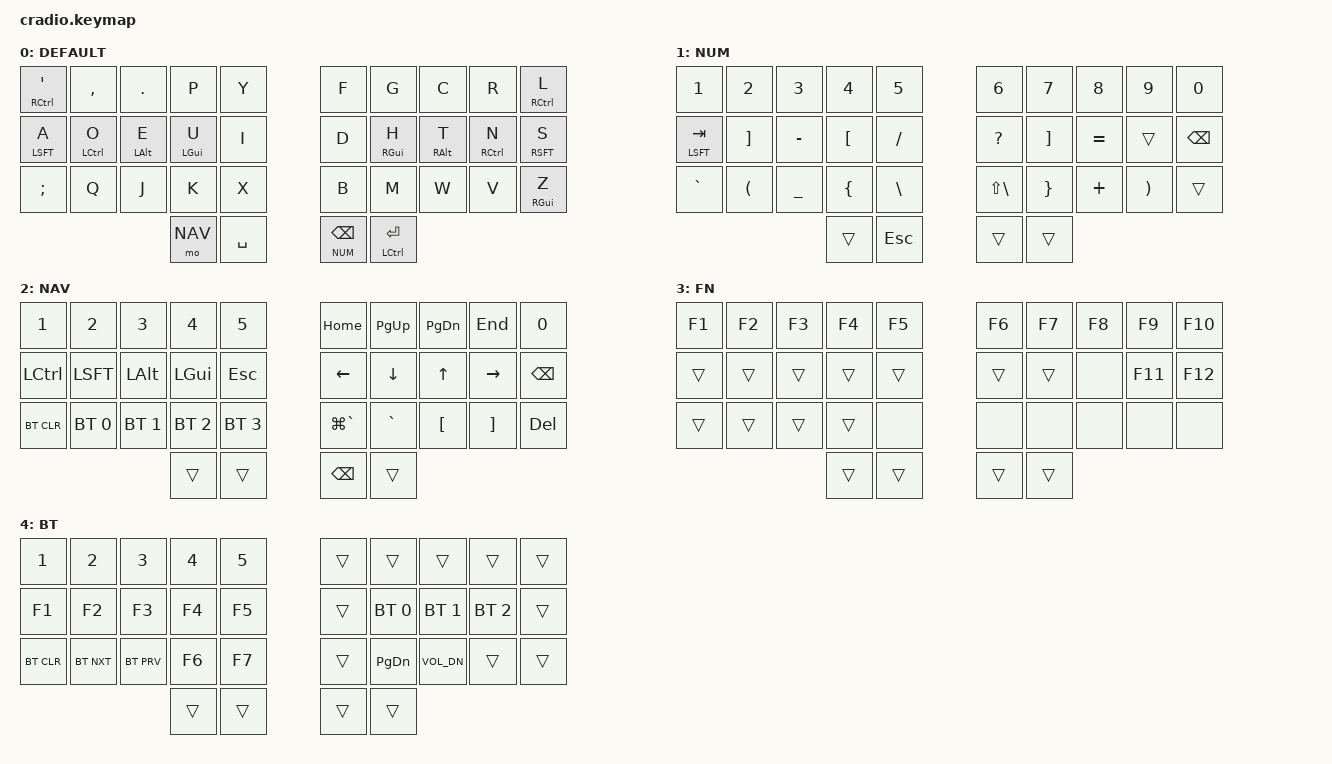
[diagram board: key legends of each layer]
/*
 * Copyright (c) 2020 The ZMK Contributors
 *
 * SPDX-License-Identifier: MIT
 */

#include <behaviors.dtsi>
#include <dt-bindings/zmk/keys.h>
#include <dt-bindings/zmk/bt.h>
//#include <dt-bindings/zmk/mouse.h>

#define DEFAULT 0
#define NUM 1
#define NAV 2
#define FN 3
#define BT 4
#define MOUSE 5


#define HM_A  &hm LSFT A
#define HM_O  &hm LCTL O
#define HM_E  &hm LALT E
#define HM_U  &hm LGUI U

#define HM_S  &hm RSFT S
#define HM_N  &hm RCTL N
#define HM_T  &hm RALT T
#define HM_H  &hm RGUI H

#define HM_SQT  &hm RCTL SQT
#define HM_L &hm RCTL L

#define SHIFT_TAB &hm LSFT TAB

#define HM_Z  &hm RGUI Z



&mt {
  //  flavor = "tap-preferred";
  // tapping_term_ms = <200>;
};

/ {

  behaviors {
  hml: homerow_layers {
      compatible = "zmk,behavior-hold-tap";
      label = "HOMEROW_LAYERS";
      #binding-cells = <2>;
      tapping-term-ms = <300>;
      quick-tap-ms = <0>;
      flavor = "tap-preferred";
      bindings = <&mo>, <&kp>;
    };
  hm: homerow_mods {
      compatible = "zmk,behavior-hold-tap";
      label = "HOMEROW_MODS";
      #binding-cells = <2>;
      tapping-term-ms = <250>;
      quick-tap-ms = <0>;
      flavor = "tap-preferred";
      bindings = <&kp>, <&kp>;
    };
    };

    combos {
        compatible = "zmk,combos";

        combo_sl_fn {
            timeout-ms = <50>;
            key-positions = <26 27>;
            bindings = <&sl FN>;
        };

        combo_bootloader {
            timeout-ms = <50>;
            key-positions = <00 01 02 03>;
            bindings = <&bootloader>;
        };


        combo_bootloader_left {
            timeout-ms = <50>;
            key-positions = <26 27 28 29>;
            bindings = <&bootloader>;
        };

         combo_1 {
          timeout-ms = <50>;
          key-positions = <00 10>;
          bindings = <&kp NUM_1>;
        };
        combo_2 {
          timeout-ms = <50>;
          key-positions = <01 11>;
          bindings = <&kp NUM_2>;
        };
        combo_3 {
          timeout-ms = <50>;
          key-positions = <02 12>;
          bindings = <&kp NUM_3>;
        };
        combo_4 {
          timeout-ms = <50>;
          key-positions = <03 13>;
          bindings = <&kp NUM_4>;
        };
        combo_5 {
          timeout-ms = <50>;
          key-positions = <04 14>;
          bindings = <&kp NUM_5>;
        };
        combo_6 {
          timeout-ms = <50>;
          key-positions = <05 15>;
          bindings = <&kp NUM_6>;
        };
        combo_7 {
          timeout-ms = <50>;
          key-positions = <06 16>;
          bindings = <&kp NUM_7>;
        };
        combo_8 {
          timeout-ms = <50>;
          key-positions = <7 17>;
          bindings = <&kp NUM_8>;
        };
        combo_9 {
          timeout-ms = <50>;
          key-positions = <8 18>;
          bindings = <&kp NUM_9>;
        };
        combo_0 {
          timeout-ms = <50>;
          key-positions = <9 19>;
          bindings = <&kp NUM_0>;
        };

        combo_caps_word_l {
          timeout-ms = <50>;
          key-positions = <10 20>;
          bindings = <&caps_word>;
        };

        combo_caps_word_r {
          timeout-ms = <50>;
          key-positions = <19 29>;
          bindings = <&caps_word>;
        };



    };

    /*

      00   01   02   03   04       05   06   07   08   09
      10   11   12   13   14       15   16   17   18   19
      20   21   22   23   24       25   26   27   28   29
                     30   31       32   33

     */

    keymap 	{
      compatible = "zmk,keymap";

      DEFAULT {
        bindings = <
          //┌─────────┬─────────┬─────────┬─────────┬─────────┐                            ┌─────────┬─────────┬─────────┬─────────┬─────────┐
          HM_SQT    &kp CMMA  &kp DOT   &kp P     &kp Y	                                &kp F    &kp G      &kp C     &kp R     HM_L
          //├─────────┼─────────┼─────────┼─────────┼─────────┤                            ├─────────┼─────────┼─────────┼─────────┼─────────┤
          HM_A      HM_O	     HM_E      HM_U      &kp I                                  &kp D      HM_H     HM_T      HM_N      HM_S
          //├─────────┼─────────┼─────────┼─────────┼─────────┤                            ├─────────┼─────────┼─────────┼─────────┼─────────┤
          &kp SEMI  &kp Q     &kp J     &kp K     &kp X                                  &kp B     &kp M     &kp W     &kp V     HM_Z
          //└─────────┴─────────┴─────────┴─────┬───┴─────┬───┼─────────┐        ┌─────────┼───┬─────┴───┬─────┴─────────┴─────────┴─────────┘
          /**/                                 &mo NAV       &kp SPC  	        &lt NUM  BSPC     &hm LCTL RET
          //                                    └─────────┘   └─────────┘        └─────────┘   └─────────┘
          >;
      };


      NUM {
        bindings = <
          //┌─────────┬─────────┬─────────┬─────────┬─────────┐                            ┌─────────┬─────────┬─────────┬─────────┬─────────┐
          &kp NUM_1		 &kp NUM_2  &kp NUM_3	  &kp NUM_4  &kp NUM_5 			                  &kp NUM_6     &kp NUM_7		&kp NUM_8	 &kp NUM_9	 &kp NUM_0
          //├─────────┼─────────┼─────────┼─────────┼─────────┤                            ├─────────┼─────────┼─────────┼─────────┼─────────┤
          SHIFT_TAB	 &kp RBKT  &kp MINUS	  &kp LBKT  &kp SLASH		                        	&kp QMARK		  &kp RBKT		&kp EQUAL	 &trans	 &kp BSPC
          //├─────────┼─────────┼─────────┼─────────┼─────────┤                            ├─────────┼─────────┼─────────┼─────────┼─────────┤
          &kp GRAVE	 &kp LPAR  &kp UNDER  &kp LBRC  &kp BSLH		                         	&kp LS(BSLH)	  &kp RBRC	&kp PLUS  	&kp RPAR	 &trans
          //└─────────┴─────────┴─────────┴─────┬───┴─────┬───┼─────────┐        ┌─────────┼───┬─────┴───┬─────┴─────────┴─────────┴─────────┘
          /**/                                 &trans        &kp ESC 		       	&trans      &trans
          //                                    └─────────┘   └─────────┘        └─────────┘   └─────────┘
          >;
      };

      NAV {
        bindings = <
          //┌─────────┬─────────┬─────────┬─────────┬─────────┐                            ┌─────────┬─────────┬─────────┬─────────┬─────────┐
          &kp NUM_1   &kp NUM_2       &kp NUM_3     &kp NUM_4      &kp NUM_5		        &kp HOME         &kp PG_UP   &kp PG_DN   &kp END     &kp NUM_0
          //├─────────┼─────────┼─────────┼─────────┼─────────┤                            ├─────────┼─────────┼─────────┼─────────┼─────────┤
          &kp LCTL    &kp LSFT        &kp LALT      &kp LGUI       &kp ESC 		          &kp LEFT         &kp DOWN    &kp UP      &kp RIGHT   &kp BSPC
          //├─────────┼─────────┼─────────┼─────────┼─────────┤                            ├─────────┼─────────┼─────────┼─────────┼─────────┤
          &bt BT_CLR  &bt BT_SEL 0  	&bt BT_SEL 1  &bt BT_SEL 2   &bt BT_SEL 3         &kp LG(GRAVE)    &kp GRAVE   &kp LBKT    &kp RBKT    &kp DEL
          //└─────────┴─────────┴─────────┴─────┬───┴─────┬───┼─────────┐        ┌─────────┼───┬─────┴───┬─────┴─────────┴─────────┴─────────┘
          /**/                                 &trans         &trans  	       &kp BSPC         &trans
          //                                    └─────────┘   └─────────┘        └─────────┘   └─────────┘
          >;
      };

      FN {
        bindings = <
          //┌─────────┬─────────┬─────────┬─────────┬─────────┐                            ┌─────────┬─────────┬─────────┬─────────┬─────────┐
          &kp F1	    &kp F2    &kp F3   &kp F4	    &kp F5	                           		&kp F6   	&kp F7  	&kp F8  	&kp F9	  &kp F10
          //├─────────┼─────────┼─────────┼─────────┼─────────┤                            ├─────────┼─────────┼─────────┼─────────┼─────────┤
          &trans	   &trans	    &trans   &trans	    &trans                                &trans   &trans   	&none	    &kp F11  	&kp F12
          //├─────────┼─────────┼─────────┼─────────┼─────────┤                            ├─────────┼─────────┼─────────┼─────────┼─────────┤
          &trans	   &trans	    &trans   &trans	    &none			                          	&none   	&none    	&none    	&none	    &none
          //└─────────┴─────────┴─────────┴─────┬───┴─────┬───┼─────────┐        ┌─────────┼───┬─────┴───┬─────┴─────────┴─────────┴─────────┘
          /**/                                &trans        &trans 		        	&trans        &trans
          //                                    └─────────┘   └─────────┘        └─────────┘   └─────────┘
          >;
      };

      BT {
        bindings = <
          //┌─────────┬─────────┬─────────┬─────────┬─────────┐                            ┌─────────┬─────────┬─────────┬─────────┬─────────┐
          &kp NUM_1	    &kp NUM_2	    &kp NUM_3	    &kp NUM_4	&kp NUM_5                   &trans	  &trans	  		 &trans	  		 &trans			   &trans
          //├─────────┼─────────┼─────────┼─────────┼─────────┤                            ├─────────┼─────────┼─────────┼─────────┼─────────┤
          &kp F1	      &kp F2	      &kp F3	      &kp F4		&kp F5  	                  &trans	  &bt BT_SEL 0	 &bt BT_SEL 1	 &bt BT_SEL 2	 &trans
          //├─────────┼─────────┼─────────┼─────────┼─────────┤                            ├─────────┼─────────┼─────────┼─────────┼─────────┤
          &bt BT_CLR	  &bt BT_NXT		&bt BT_PRV    &kp F6		&kp F7 			               	&trans	   &kp PG_DN 		 &kp K_VOL_DN	 &trans		  	 &trans
          //└─────────┴─────────┴─────────┴─────┬───┴─────┬───┼─────────┐        ┌─────────┼───┬─────┴───┬─────┴─────────┴─────────┴─────────┘
          /**/                                 &trans        &trans  		          	&trans      &trans
          //                                    └─────────┘   └─────────┘        └─────────┘   └─────────┘
          >;
      };

    };
};
